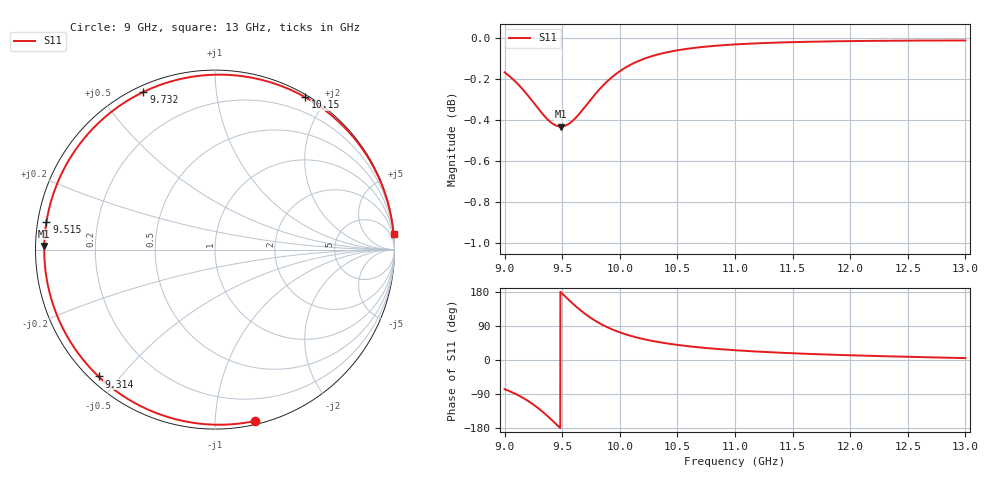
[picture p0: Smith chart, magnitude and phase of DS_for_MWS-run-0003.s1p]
! TOUCHSTONE file generated by CST DESIGN STUDIO
! Date and time: Tue Feb  4 17:56:26 2025
! Project name: C:\Work\MatlabApps\UnitCellOptimizationMatlab\CST\unitcell.cst
! Tree item: Tasks\Sweep1\SPara1\S-Parameters
! Header version: 2024
! Port assignment regex: !\s*Touchstone port\s*([0-9]+)\s*=\s*(CST MWS port|CST DES external port|CST DES block port)\s*(.+)\s* \(\"(.*)\"\)(\s*mode\s*([0-9]+))?.*
! Touchstone port assignment:
! Touchstone port 1 = CST DES external port 1 ("")
# GHz S MA R 50
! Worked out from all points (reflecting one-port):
!   4001 points, 9 GHz to 13 GHz, reference 50 ohm
!   lowest |S11| = -0.4 dB at 9.488 GHz (marker M1), VSWR 40.23, Z = 1.24 + j0.523 ohm
!   phase of S11 starts at -77 deg and turns -278 deg over the sweep
!   S11 on the Smith chart (normalised r, x): 9 GHz: 0.03, -1.26; 9.314 GHz: 0.02, -0.44; 9.515 GHz: 0.02, +0.08; 9.732 GHz: 0.03, +0.64; 10.15 GHz: 0.03, +1.76; 13 GHz: 0, +23
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9  0.9808 -76.9
9.08  0.9766 -87.3
9.179  0.97 -103.4
9.249  0.9645 -117.4
9.314  0.9594 -132.6
9.36  0.9561 -144.5
9.409  0.9534 -158.1
9.449  0.952 -169.7
9.488  0.9515 178.8
9.5  0.9515 175.2
9.515  0.9517 170.8
9.568  0.9534 155.5
9.628  0.9569 139.1
9.679  0.9606 126.4
9.732  0.9647 114.5
9.786  0.9688 103.7
9.846  0.973 93.4
9.922  0.9776 82.3
10  0.9814 73.0
10.149  0.9867 59.3
10.308  0.9903 48.9
10.5  0.993 39.9
10.722  0.9949 32.4
11  0.9963 25.8
11.5  0.9975 17.8
12  0.9981 12.5
12.5  0.9984 8.4
13  0.9985 5.0
